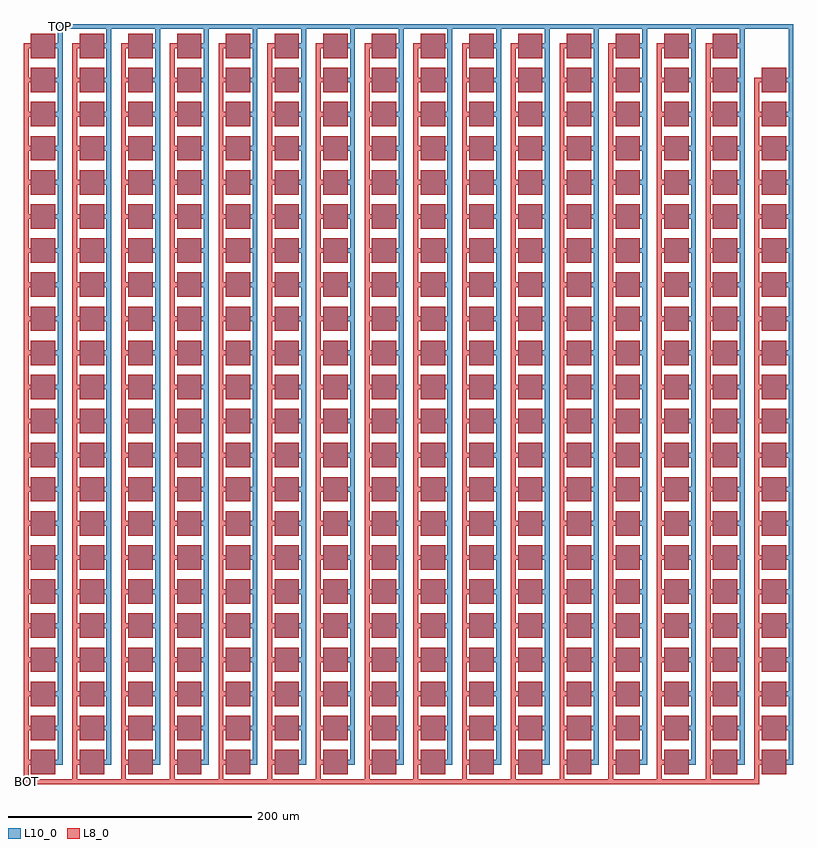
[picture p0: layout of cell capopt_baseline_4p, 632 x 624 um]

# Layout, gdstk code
import gdstk
lib = gdstk.Library(unit=1e-6, precision=1e-09)
def R(c, l, rs):  # rectangles x0, y0, x1, y1
    for r in rs: c.add(gdstk.rectangle(r[:2], r[2:], *l))
def A(c, l, x, y, w, h, nx, ny, dx, dy):  # array of equal rectangles
    R(c, l, [(x+i*dx, y+j*dy, x+i*dx+w, y+j*dy+h) for i in range(nx) for j in range(ny)])
L8_0 = (8, 0)
L10_0 = (10, 0)

capopt_baseline_4p = lib.new_cell('capopt_baseline_4p')
A(capopt_baseline_4p, L8_0, -6, -8, 4, 608, 15, 1, 40, 0)
A(capopt_baseline_4p, L8_0, 0, 0, 20, 20, 16, 21, 40, 28)
A(capopt_baseline_4p, L8_0, -6, 8, 6, 4, 16, 21, 40, 28)
A(capopt_baseline_4p, L8_0, 0, 588, 20, 20, 15, 1, 40, 0)
A(capopt_baseline_4p, L8_0, -6, 596, 6, 4, 15, 1, 40, 0)
R(capopt_baseline_4p, L8_0, [(-6,-8,598,-4), (594,-8,598,572)])
A(capopt_baseline_4p, L10_0, 0, 0, 20, 20, 16, 21, 40, 28)
A(capopt_baseline_4p, L10_0, 20, 8, 6, 4, 16, 21, 40, 28)
A(capopt_baseline_4p, L10_0, 22, 8, 4, 608, 16, 1, 40, 0)
A(capopt_baseline_4p, L10_0, 0, 588, 20, 20, 15, 1, 40, 0)
A(capopt_baseline_4p, L10_0, 20, 596, 6, 4, 15, 1, 40, 0)
R(capopt_baseline_4p, L10_0, [(22,612,626,616)])
capopt_baseline_4p.add(gdstk.Label('BOT', (-4,-6), layer=8, texttype=7))
capopt_baseline_4p.add(gdstk.Label('TOP', (24,614), layer=10, texttype=7))

lib.write_gds('capopt_baseline_4p.gds')
